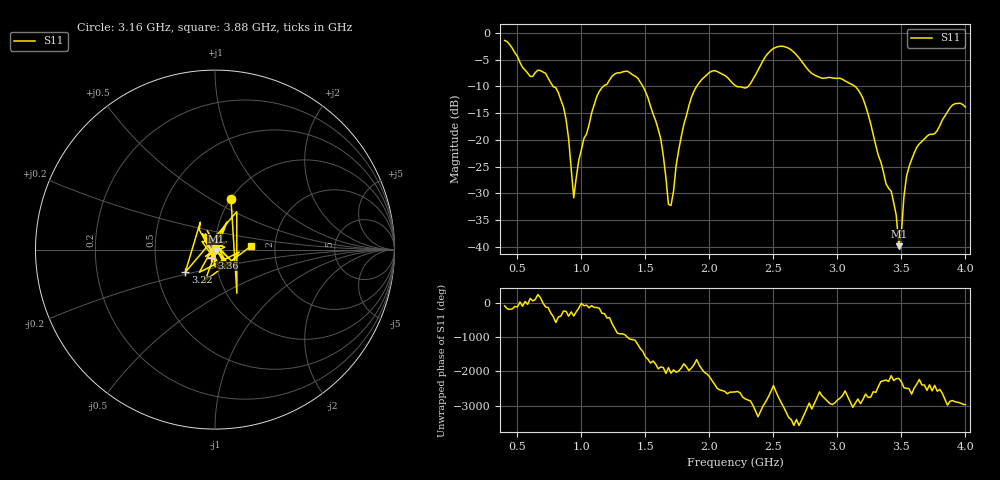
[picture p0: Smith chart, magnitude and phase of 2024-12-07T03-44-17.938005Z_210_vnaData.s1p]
!Created with skrf (http://scikit-rf.org).
# Hz S RI R 50.0
!freq ReS11 ImS11
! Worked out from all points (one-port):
!   181 points, 400 MHz to 4 GHz, reference 50 ohm
!   lowest |S11| = -39.9 dB at 3.48 GHz (marker M1), VSWR 1.02, Z = 50.7 - j0.705 ohm
!   |S11| at or under -10 dB: 778.3 MHz to 1.172 GHz (393.3 MHz wide, 40.3 % of centre); 1.481 GHz to 1.9 GHz (419.2 MHz wide, 24.8 % of centre); 3.138 GHz to end of sweep (the widest 3 of 4)
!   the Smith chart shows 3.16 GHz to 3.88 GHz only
!   S11 on the Smith chart (normalised r, x): 3.16 GHz: 1.00, +0.62; 3.22 GHz: 0.70, -0.18; 3.36 GHz: 0.96, -0.09; 3.88 GHz: 1.49, +0.06
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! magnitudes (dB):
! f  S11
! 400 MHz  -1.4
! 720 MHz  -7.6
! 860 MHz  -13.8
! 900 MHz  -19.8
! 940 MHz  -30.9
! 980 MHz  -23.8
! 1.12 GHz  -11.9
! 1.3 GHz  -7.5
! 1.52 GHz  -12.1
! 1.62 GHz  -19.8
! 1.68 GHz  -32.1
! 1.7 GHz  -32.3
! 1.76 GHz  -22.0
! 1.86 GHz  -12.0
! 1.94 GHz  -8.7
! 2.2 GHz  -9.8
! 2.3 GHz  -10.1
! 2.5 GHz  -2.9
! 2.66 GHz  -3.6
! 3.1 GHz  -9.5
! 3.16 GHz  -10.6
! 3.22 GHz  -13.6
! 3.36 GHz  -26.1
! 3.44 GHz  -31.8
! 3.48 GHz  -39.9
! 3.56 GHz  -25.0
! 3.88 GHz  -14.0
! 4 GHz  -13.9
